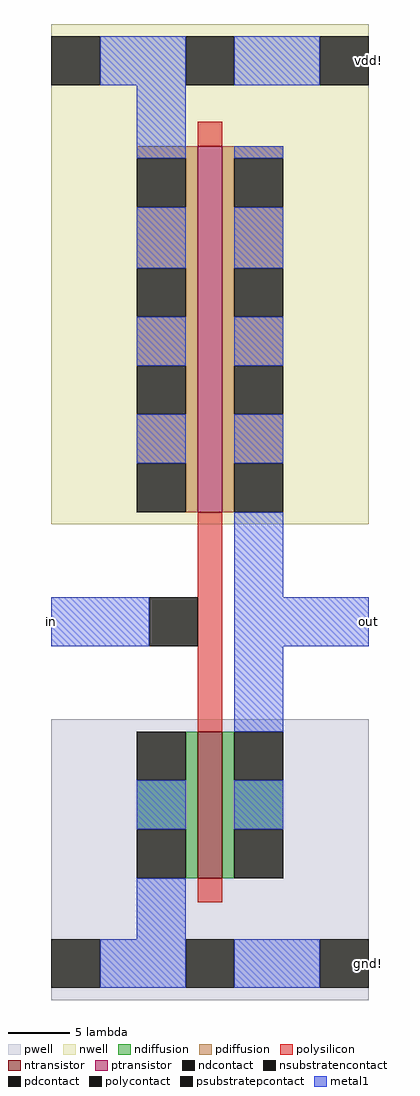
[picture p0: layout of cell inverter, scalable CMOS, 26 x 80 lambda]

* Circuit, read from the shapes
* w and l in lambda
.subckt inverter gnd! in out vdd!
M1 out in gnd! gnd! nfet w=12 l=2
M2 out in vdd! vdd! pfet w=30 l=2
.ends

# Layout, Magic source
magic
tech scmos
<< pwell >>
rect -12 -30 14 -7
<< nwell >>
rect -12 9 14 50
<< polysilicon >>
rect 0 40 2 42
rect 0 -8 2 10
rect 0 -22 2 -20
<< ndiffusion >>
rect -1 -12 0 -8
rect -5 -16 0 -12
rect -1 -20 0 -16
rect 2 -12 3 -8
rect 2 -16 7 -12
rect 2 -20 3 -16
<< pdiffusion >>
rect -5 39 0 40
rect -1 35 0 39
rect -5 30 0 35
rect -1 26 0 30
rect -5 22 0 26
rect -1 18 0 22
rect -5 14 0 18
rect -1 10 0 14
rect 2 39 7 40
rect 2 35 3 39
rect 2 30 7 35
rect 2 26 3 30
rect 2 22 7 26
rect 2 18 3 22
rect 2 14 7 18
rect 2 10 3 14
<< metal1 >>
rect -8 45 -1 49
rect 3 45 10 49
rect -5 39 -1 45
rect -5 30 -1 35
rect -5 22 -1 26
rect -5 14 -1 18
rect 3 39 7 40
rect 3 30 7 35
rect 3 22 7 26
rect 3 14 7 18
rect 3 3 7 10
rect -12 -1 -4 3
rect 3 -1 14 3
rect 3 -8 7 -1
rect -5 -16 -1 -12
rect 3 -16 7 -12
rect -5 -25 -1 -20
rect -8 -29 -1 -25
rect 3 -29 10 -25
<< ntransistor >>
rect 0 -20 2 -8
<< ptransistor >>
rect 0 10 2 40
<< polycontact >>
rect -4 -1 0 3
<< ndcontact >>
rect -5 -12 -1 -8
rect -5 -20 -1 -16
rect 3 -12 7 -8
rect 3 -20 7 -16
<< pdcontact >>
rect -5 35 -1 39
rect -5 26 -1 30
rect -5 18 -1 22
rect -5 10 -1 14
rect 3 35 7 39
rect 3 26 7 30
rect 3 18 7 22
rect 3 10 7 14
<< psubstratepcontact >>
rect -12 -29 -8 -25
rect -1 -29 3 -25
rect 10 -29 14 -25
<< nsubstratencontact >>
rect -12 45 -8 49
rect -1 45 3 49
rect 10 45 14 49
<< labels >>
rlabel metal1 -12 -1 -12 3 3 in
rlabel metal1 14 -1 14 3 7 out
rlabel nsubstratencontact 14 45 14 49 6 vdd!
rlabel psubstratepcontact 14 -29 14 -25 8 gnd!
<< end >>
